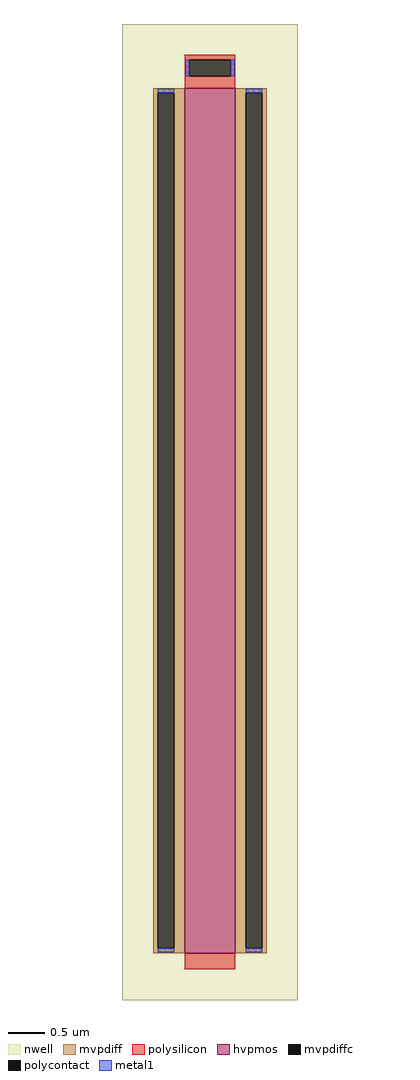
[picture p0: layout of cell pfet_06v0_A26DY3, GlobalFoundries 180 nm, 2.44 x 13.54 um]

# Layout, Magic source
magic
tech gf180mcuD
magscale 1 10
<< nwell >>
rect -244 -1354 244 1354
<< hvpmos >>
rect -70 -1224 70 1176
<< mvpdiff >>
rect -158 1163 -70 1176
rect -158 -1211 -145 1163
rect -99 -1211 -70 1163
rect -158 -1224 -70 -1211
rect 70 1163 158 1176
rect 70 -1211 99 1163
rect 145 -1211 158 1163
rect 70 -1224 158 -1211
<< mvpdiffc >>
rect -145 -1211 -99 1163
rect 99 -1211 145 1163
<< polysilicon >>
rect -70 1255 70 1268
rect -70 1209 -57 1255
rect 57 1209 70 1255
rect -70 1176 70 1209
rect -70 -1268 70 -1224
<< polycontact >>
rect -57 1209 57 1255
<< metal1 >>
rect -68 1209 -57 1255
rect 57 1209 68 1255
rect -145 1163 -99 1174
rect -145 -1222 -99 -1211
rect 99 1163 145 1174
rect 99 -1222 145 -1211
<< properties >>
string gencell pfet_06v0
string library gf180mcu
string parameters w 12 l 0.7 m 1 nf 1 diffcov 100 polycov 100 guard 0 glc 0 grc 0 gtc 0 gbc 0 tbcov 100 rlcov 100 topc 1 botc 0 poverlap 0 doverlap 1 lmin 0.55 wmin 0.3 class mosfet full_metal 0 compatible {pfet_03v3 pfet_05v0 pfet_06v0}
<< end >>
